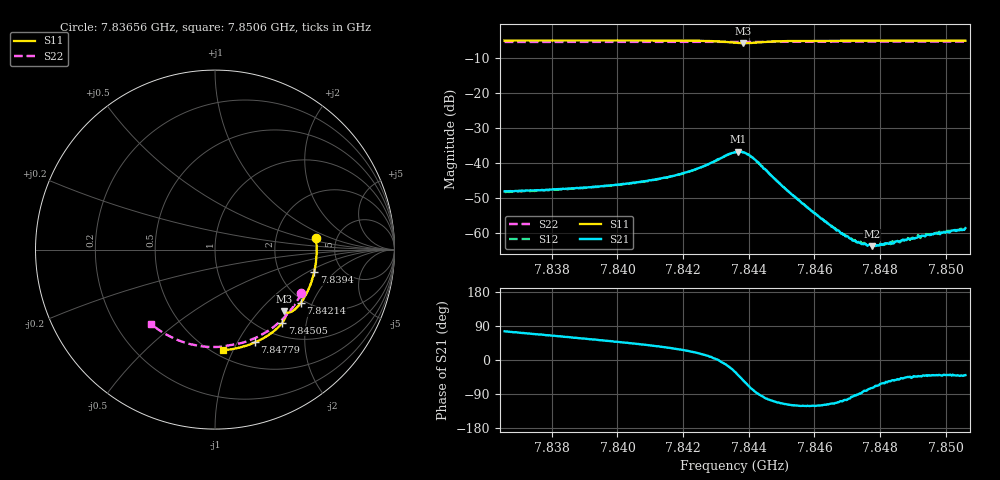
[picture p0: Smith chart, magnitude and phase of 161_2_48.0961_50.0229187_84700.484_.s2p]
#  HZ  S  RI  R  50.00
! Rohde & Schwarz Vector Network Analyzer
! Rohde-Schwarz,ZNB20-2Port,1311601062101988,3.16
! Created: UTC 12/23/2023, 3:50:45 AM
! freq[Hz]  re:S11  im:S11  re:S21  im:S21  re:S12  im:S12  re:S22  im:S22
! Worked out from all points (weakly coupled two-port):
!   401 points, 7.83656 GHz to 7.8506 GHz, reference 50 ohm
!   highest |S21| = -36.80 dB at 7.84368 GHz (marker M1); lowest = -63.9 dB at 7.84775 GHz (marker M2)
!   lowest |S11| = -5.7 dB at 7.84383 GHz (marker M3), VSWR 3.14, Z = 74.1 - j69.5 ohm
!   |S11| at or under -10 dB: nowhere
!   |S22| runs from -5.4 to -5.3 dB; largest |S21 - S12| = 0.00028
!   S11 on the Smith chart (normalised r, x): 7.83656 GHz: 3.47, +0.66; 7.8394 GHz: 3.16, -1.15; 7.84214 GHz: 1.90, -1.65; 7.84505 GHz: 1.25, -1.46; 7.84779 GHz: 0.78, -1.19; 7.8506 GHz: 0.56, -0.91
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7.836562e9  0.5622 0.0647  0.000965 0.00378  0.00103 0.00371  0.4815 -0.2432
7.838913e9  0.5594 -0.0914  0.0024 0.00368  0.00236 0.00364  0.3868 -0.3773
7.839404e9  0.5532 -0.1236  0.00277 0.00365  0.00271 0.00361  0.362 -0.4012
7.841264e9  0.511 -0.2427  0.00477 0.00347  0.00473 0.00345  0.2559 -0.4767
7.842141e9  0.4785 -0.2963  0.00679 0.00302  0.00674 0.00301  0.2002 -0.5028
7.843053e9  0.4283 -0.3446  0.0112 0.000141  0.011 0.000143  0.1389 -0.5223
7.843579e9  0.3918 -0.3501  0.0122 -0.00751  0.0121 -0.00741  0.1037 -0.5289
7.843685e9  0.3878 -0.3471  0.0109 -0.00948  0.0109 -0.00934  0.097 -0.5301
7.843825e9  0.3865 -0.3438  0.00838 -0.0113  0.00843 -0.0113  0.0881 -0.5318
7.844036e9  0.3908 -0.3447  0.0038 -0.012  0.00399 -0.0119  0.0747 -0.5345
7.844211e9  0.3945 -0.3521  0.00101 -0.0108  0.000997 -0.0109  0.0632 -0.5369
7.845053e9  0.3754 -0.407  -0.00194 -0.00407  -0.00194 -0.00411  0.00442 -0.5427
7.84593e9  0.3314 -0.4516  -0.00104 -0.00174  -0.00104 -0.00174  -0.0575 -0.5405
7.846562e9  0.2962 -0.4776  -0.000502 -0.0011  -0.00052 -0.00108  -0.1015 -0.5343
7.847123e9  0.2634 -0.4971  -0.0001 -0.000805  -0.000129 -0.000814  -0.1401 -0.5261
7.847439e9  0.2444 -0.507  4.43e-05 -0.000683  5.27e-05 -0.000691  -0.1614 -0.5201
7.847755e9  0.2252 -0.516  0.000177 -0.000615  0.000163 -0.000643  -0.1823 -0.5133
7.84779e9  0.223 -0.517  0.000197 -0.000643  0.00019 -0.000647  -0.1847 -0.5125
7.848106e9  0.2034 -0.525  0.000331 -0.000592  0.00031 -0.000587  -0.2055 -0.5047
7.848281e9  0.1925 -0.529  0.00039 -0.000571  0.000395 -0.000603  -0.217 -0.5001
7.849404e9  0.1205 -0.5496  0.000703 -0.000596  0.000697 -0.000652  -0.2869 -0.4641
7.850597e9  0.042 -0.5606  0.000889 -0.000745  0.000866 -0.000754  -0.3548 -0.4155
